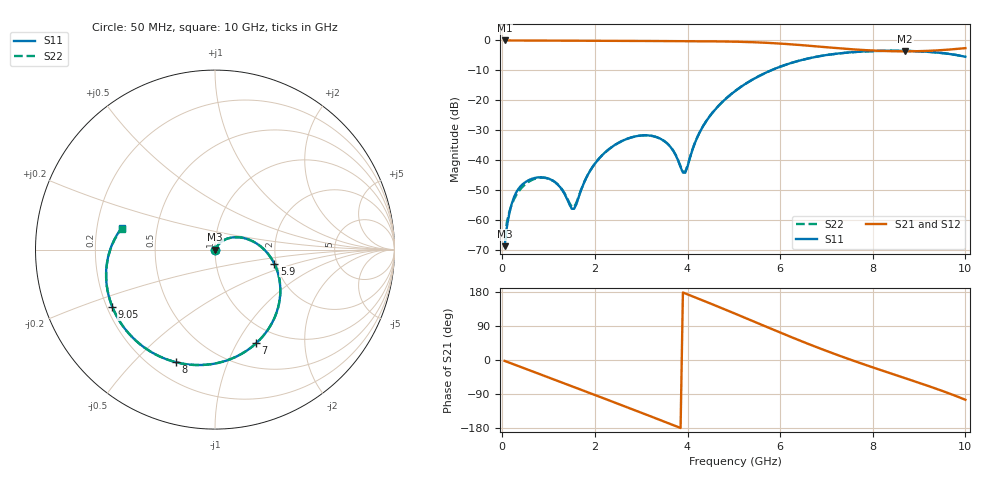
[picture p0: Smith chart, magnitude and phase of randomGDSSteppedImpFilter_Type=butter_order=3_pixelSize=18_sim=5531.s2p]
! freq	dB(S11)	phase(S11)	dB(S12)	phase(S12)
!  dB(S21)	phase(S21)	dB(S22)	phase(S22)
!S-par simulation data
#  GHz  S  DB  R 50
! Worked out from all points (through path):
!   200 points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, 50 MHz to 10 GHz, reference 50 ohm
!   highest |S21| = 0.00 dB at 50 MHz (marker M1); lowest = -3.6 dB at 8.7 GHz (marker M2)
!   group delay of S21, straight-line fit = 131 ps
!   lowest |S11| = -68.8 dB at 50 MHz (marker M3), VSWR 1.00, Z = 50 - j0.035 ohm
!   |S11| at or under -10 dB: start of sweep to 5.804 GHz
!   |S22| runs from -66.2 to -3.4 dB; largest |S21 - S12| = 0
!   S11 on the Smith chart (normalised r, x): 50 MHz: 1.00, -0.00; 5.9 GHz: 1.95, -0.35; 7 GHz: 0.78, -1.20; 8 GHz: 0.30, -0.67; 9.05 GHz: 0.22, -0.25; 10 GHz: 0.31, +0.10
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0.05  -68.81 -74.9  -0.00 -2.3  -0.00 -2.3  -66.19 -39.0
0.1  -62.25 -78.5  -0.01 -4.6  -0.01 -4.6  -60.75 -66.3
0.2  -54.83 -85.9  -0.02 -9.3  -0.02 -9.3  -55.03 -86.3
0.45  -47.97 -111.1  -0.03 -20.8  -0.03 -20.8  -48.74 -108.5
1.05  -46.55 -148.2  -0.06 -48.4  -0.06 -48.4  -46.56 -148.5
1.55  -56.32 102.3  -0.08 -71.5  -0.08 -71.5  -55.68 102.8
1.75  -48.13 36.9  -0.09 -80.7  -0.09 -80.7  -48.04 38.1
2.05  -40.20 9.0  -0.11 -94.6  -0.11 -94.6  -40.23 9.3
2.45  -34.76 -14.1  -0.13 -113.3  -0.13 -113.3  -34.80 -13.9
3.4  -32.78 -56.7  -0.20 -157.9  -0.20 -157.9  -32.76 -56.0
3.65  -35.99 -61.2  -0.22 -169.8  -0.22 -169.8  -35.92 -60.3
3.95  -44.26 7.8  -0.24 175.7  -0.24 175.7  -43.90 7.2
4.35  -28.30 55.5  -0.28 156.2  -0.28 156.2  -28.28 55.1
5.05  -16.66 27.9  -0.42 121.1  -0.42 121.1  -16.66 27.8
5.9  -9.38 -13.4  -0.95 77.6  -0.95 77.6  -9.38 -13.3
6.7  -5.71 -52.4  -1.87 38.0  -1.87 38.0  -5.71 -52.3
7  -4.88 -66.3  -2.27 24.0  -2.27 24.0  -4.89 -66.3
8  -3.56 -109.0  -3.38 -19.5  -3.38 -19.5  -3.56 -108.9
8.35  -3.45 -122.9  -3.58 -33.8  -3.58 -33.8  -3.45 -122.8
8.7  -3.49 -136.8  -3.65 -48.0  -3.65 -48.0  -3.48 -136.6
9.05  -3.68 -150.9  -3.56 -62.3  -3.56 -62.3  -3.67 -150.7
10  -5.46 166.9  -2.57 -105.0  -2.57 -105.0  -5.46 167.3
